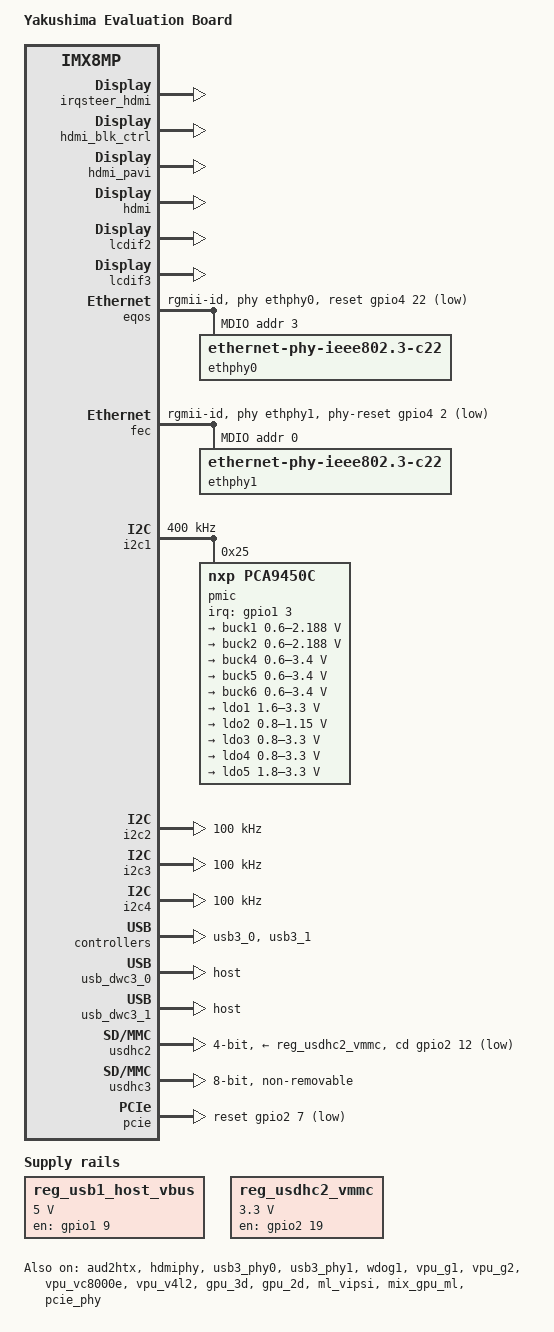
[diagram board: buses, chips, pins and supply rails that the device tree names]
/*
 * Copyright (C) 2021 Atmark Techno, Inc. All Rights Reserved.
 *
 * SPDX-License-Identifier: (GPL-2.0 OR MIT)
 */

/dts-v1/;

#include <dt-bindings/usb/pd.h>
#include <dt-bindings/net/ti-dp83867.h>
#include "imx8mp.dtsi"

#include "armadillo_x2-default-console.dtsi"

/ {
	model = "Yakushima Evaluation Board";
	compatible = "atmark,yakushima-eva", "fsl,imx8mp";

	reg_usb1_host_vbus: regulator-usb1-vbus {
		compatible = "regulator-fixed";
		regulator-name = "usb1_host_vbus";
		pinctrl-names = "default";
		pinctrl-0 = <&pinctrl_usb1_vbus>;
		regulator-min-microvolt = <5000000>;
		regulator-max-microvolt = <5000000>;
		gpio = <&gpio1 9 GPIO_ACTIVE_HIGH>;
		enable-active-high;
		regulator-always-on;
	};

	reg_usdhc2_vmmc: regulator-usdhc2 {
		compatible = "regulator-fixed";
		pinctrl-names = "default";
		pinctrl-0 = <&pinctrl_reg_usdhc2_vmmc>;
		regulator-name = "VSD_3V3";
		regulator-min-microvolt = <3300000>;
		regulator-max-microvolt = <3300000>;
		// ??? voltage-ranges = <1800 1800 3300 3300>;
		gpio = <&gpio2 19 GPIO_ACTIVE_HIGH>;
		enable-active-high;
	};

	sound-hdmi {
		compatible = "fsl,imx-audio-cdnhdmi";
		model = "audio-hdmi";
		audio-cpu = <&aud2htx>;
		hdmi-out;
		constraint-rate = <44100>,
				<88200>,
				<176400>,
				<32000>,
				<48000>,
				<96000>,
				<192000>;
		status = "okay";
	};
};

&aud2htx {
	status = "okay";
};

&irqsteer_hdmi {
	status = "okay";
};

&hdmi_blk_ctrl {
	status = "okay";
};

&hdmi_pavi {
	status = "okay";
};

&hdmi {
	status = "okay";
};

&hdmiphy {
	status = "okay";
};

&lcdif2 {
	status = "okay";
};

&lcdif3 {
	status = "okay";

	thres-low  = <1 2>;             /* (FIFO * 1 / 2) */
	thres-high = <3 4>;             /* (FIFO * 3 / 4) */
};

&eqos {
	pinctrl-names = "default";
	pinctrl-0 = <&pinctrl_eqos>;
	phy-mode = "rgmii-id";
	phy-handle = <&ethphy0>;
	snps,reset-gpio = <&gpio4 22 GPIO_ACTIVE_LOW>;
	snps,reset-active-low;
	snps,reset-delays-us = <0 15000 150000>; // hold reset 15ms and wait 150ms after reset for reinit
	status = "okay";

	mdio {
		compatible = "snps,dwmac-mdio";
		#address-cells = <1>;
		#size-cells = <0>;
		ethphy0: ethernet-phy@0 {
			compatible = "ethernet-phy-ieee802.3-c22";
			reg = <3>;
		};
	};
};

&fec {
	pinctrl-names = "default";
	pinctrl-0 = <&pinctrl_fec>;
	phy-mode = "rgmii-id";
	phy-handle = <&ethphy1>;
	fsl,magic-packet;
	phy-reset-gpios = <&gpio4 2 GPIO_ACTIVE_LOW>;
	phy-reset-duration = <15>;
	phy-reset-post-delay = <150>;
	status = "okay";

	mdio {
		#address-cells = <1>;
		#size-cells = <0>;

		ethphy1: ethernet-phy@1 {
			compatible = "ethernet-phy-ieee802.3-c22";
			reg = <0>;
			ti,rx-internal-delay = <DP83867_RGMIIDCTL_2_00_NS>;
			ti,tx-internal-delay = <DP83867_RGMIIDCTL_2_00_NS>;
			ti,fifo-depth = <DP83867_PHYCR_FIFO_DEPTH_4_B_NIB>;
		};
	};
};

&i2c1 {
	clock-frequency = <400000>;
	pinctrl-names = "default";
	pinctrl-0 = <&pinctrl_i2c1>;
	status = "okay";

	pmic: pca9450@25 {
		reg = <0x25>;
		compatible = "nxp,pca9450c";
		/* PMIC PCA9450 PMIC_nINT GPIO1_IO3 */
		pinctrl-0 = <&pinctrl_pmic>;
		interrupt-parent = <&gpio1>;
		interrupts = <3 GPIO_ACTIVE_LOW>;

		regulators {
			buck1: BUCK1 {
				regulator-name = "BUCK1";
				regulator-min-microvolt = <600000>;
				regulator-max-microvolt = <2187500>;
				regulator-boot-on;
				regulator-always-on;
				regulator-ramp-delay = <3125>;
			};

			buck2: BUCK2 {
				regulator-name = "BUCK2";
				regulator-min-microvolt = <600000>;
				regulator-max-microvolt = <2187500>;
				regulator-boot-on;
				regulator-always-on;
				regulator-ramp-delay = <3125>;
				nxp,dvs-run-voltage = <950000>;
				nxp,dvs-standby-voltage = <850000>;
			};

			buck4: BUCK4 {
				regulator-name = "BUCK4";
				regulator-min-microvolt = <600000>;
				regulator-max-microvolt = <3400000>;
				regulator-boot-on;
				regulator-always-on;
			};

			buck5: BUCK5 {
				regulator-name = "BUCK5";
				regulator-min-microvolt = <600000>;
				regulator-max-microvolt = <3400000>;
				regulator-boot-on;
				regulator-always-on;
			};

			buck6: BUCK6 {
				regulator-name = "BUCK6";
				regulator-min-microvolt = <600000>;
				regulator-max-microvolt = <3400000>;
				regulator-boot-on;
				regulator-always-on;
			};

			ldo1: LDO1 {
				regulator-name = "LDO1";
				regulator-min-microvolt = <1600000>;
				regulator-max-microvolt = <3300000>;
				regulator-boot-on;
				regulator-always-on;
			};

			ldo2: LDO2 {
				regulator-name = "LDO2";
				regulator-min-microvolt = <800000>;
				regulator-max-microvolt = <1150000>;
				regulator-boot-on;
				regulator-always-on;
			};

			ldo3: LDO3 {
				regulator-name = "LDO3";
				regulator-min-microvolt = <800000>;
				regulator-max-microvolt = <3300000>;
				regulator-boot-on;
				regulator-always-on;
			};

			ldo4: LDO4 {
				regulator-name = "LDO4";
				regulator-min-microvolt = <800000>;
				regulator-max-microvolt = <3300000>;
				regulator-boot-on;
				regulator-always-on;
			};

			ldo5: LDO5 {
				regulator-name = "LDO5";
				regulator-min-microvolt = <1800000>;
				regulator-max-microvolt = <3300000>;
				regulator-boot-on;
				regulator-always-on;
			};
		};
	};
};

&i2c2 {
	clock-frequency = <100000>;
	pinctrl-names = "default";
	pinctrl-0 = <&pinctrl_i2c2>;
	status = "okay";
};

&i2c3 {
	clock-frequency = <100000>;
	pinctrl-names = "default";
	pinctrl-0 = <&pinctrl_i2c3>;
	status = "okay";

};

&i2c4 {
	clock-frequency = <100000>;
	pinctrl-names = "default";
	pinctrl-0 = <&pinctrl_i2c4>;
	status = "okay";
};

&sdma2 {
	status = "okay";
};

&usb3_phy0 {
	status = "okay";
};

&usb3_0 {
	status = "okay";
};

&usb_dwc3_0 {
	dr_mode = "host";
	status = "okay";
};

&usb3_phy1 {
	status = "okay";
};

&usb3_1 {
	status = "okay";
};

&usb_dwc3_1 {
	dr_mode = "host";
	status = "okay";
};

&usdhc2 {
	assigned-clocks = <&clk IMX8MP_CLK_USDHC2>;
	assigned-clock-rates = <400000000>;
	pinctrl-names = "default", "state_100mhz", "state_200mhz";
	pinctrl-0 = <&pinctrl_usdhc2>, <&pinctrl_usdhc2_gpio>;
	pinctrl-1 = <&pinctrl_usdhc2_100mhz>, <&pinctrl_usdhc2_gpio>;
	pinctrl-2 = <&pinctrl_usdhc2_200mhz>, <&pinctrl_usdhc2_gpio>;
	cd-gpios = <&gpio2 12 GPIO_ACTIVE_LOW>;
	vmmc-supply = <&reg_usdhc2_vmmc>;
	bus-width = <4>;
	status = "okay";
};

&usdhc3 {
	assigned-clocks = <&clk IMX8MP_CLK_USDHC3>;
	assigned-clock-rates = <400000000>;
	pinctrl-names = "default", "state_100mhz", "state_200mhz";
	pinctrl-0 = <&pinctrl_usdhc3>;
	pinctrl-1 = <&pinctrl_usdhc3_100mhz>;
	pinctrl-2 = <&pinctrl_usdhc3_200mhz>;
	bus-width = <8>;
	non-removable;
	status = "okay";
};

&wdog1 {
	pinctrl-names = "default";
	pinctrl-0 = <&pinctrl_wdog>;
	fsl,ext-reset-output;
	status = "okay";
};

&iomuxc {
	pinctrl-names = "default";
	pinctrl-0 = <&pinctrl_hog>;

	pinctrl_hog: hoggrp {
		fsl,pins = <
			MX8MP_IOMUXC_HDMI_DDC_SCL__HDMIMIX_HDMI_SCL	0x40000034
			MX8MP_IOMUXC_HDMI_DDC_SDA__HDMIMIX_HDMI_SDA	0x40000034
			MX8MP_IOMUXC_HDMI_HPD__HDMIMIX_HDMI_HPD		0x40000034
			MX8MP_IOMUXC_HDMI_CEC__HDMIMIX_HDMI_CEC		0x40000034
		>;
	};

	/* Memo for pinctrl config:
	 * 0x2/6 = stronger driving field
	 *  0x10 = fast slew rate
	 *  0x40 = pull up
	 * 0x100 = pull enable
	 */
	pinctrl_eqos: eqosgrp {
		fsl,pins = <
			MX8MP_IOMUXC_ENET_MDC__ENET_QOS_MDC		0x6
			MX8MP_IOMUXC_ENET_MDIO__ENET_QOS_MDIO		0x6
			MX8MP_IOMUXC_ENET_RD0__ENET_QOS_RGMII_RD0	0x6
			MX8MP_IOMUXC_ENET_RD1__ENET_QOS_RGMII_RD1	0x6
			MX8MP_IOMUXC_ENET_RD2__ENET_QOS_RGMII_RD2	0x6
			MX8MP_IOMUXC_ENET_RD3__ENET_QOS_RGMII_RD3	0x6
			MX8MP_IOMUXC_ENET_RXC__CCM_ENET_QOS_CLOCK_GENERATE_RX_CLK	0x106
			MX8MP_IOMUXC_ENET_RX_CTL__ENET_QOS_RGMII_RX_CTL	0x106
			MX8MP_IOMUXC_ENET_TD0__ENET_QOS_RGMII_TD0	0x142
			MX8MP_IOMUXC_ENET_TD1__ENET_QOS_RGMII_TD1	0x142
			MX8MP_IOMUXC_ENET_TD2__ENET_QOS_RGMII_TD2	0x142
			MX8MP_IOMUXC_ENET_TD3__ENET_QOS_RGMII_TD3	0x142
			MX8MP_IOMUXC_ENET_TX_CTL__ENET_QOS_RGMII_TX_CTL	0x142
			MX8MP_IOMUXC_ENET_TXC__CCM_ENET_QOS_CLOCK_GENERATE_TX_CLK	0x142
			MX8MP_IOMUXC_SAI2_RXC__GPIO4_IO22		0x152 // RST
		>;
	};

	pinctrl_fec: fecgrp {
		fsl,pins = <
			MX8MP_IOMUXC_SAI1_RXD2__ENET1_MDC		0x6
			MX8MP_IOMUXC_SAI1_RXD3__ENET1_MDIO		0x6
			MX8MP_IOMUXC_SAI1_RXD4__ENET1_RGMII_RD0		0x106
			MX8MP_IOMUXC_SAI1_RXD5__ENET1_RGMII_RD1		0x106
			MX8MP_IOMUXC_SAI1_RXD6__ENET1_RGMII_RD2		0x106
			MX8MP_IOMUXC_SAI1_RXD7__ENET1_RGMII_RD3		0x106
			MX8MP_IOMUXC_SAI1_TXC__ENET1_RGMII_RXC		0x106
			MX8MP_IOMUXC_SAI1_TXFS__ENET1_RGMII_RX_CTL	0x106
			MX8MP_IOMUXC_SAI1_TXD0__ENET1_RGMII_TD0		0x142
			MX8MP_IOMUXC_SAI1_TXD1__ENET1_RGMII_TD1		0x142
			MX8MP_IOMUXC_SAI1_TXD2__ENET1_RGMII_TD2		0x142
			MX8MP_IOMUXC_SAI1_TXD3__ENET1_RGMII_TD3		0x142
			MX8MP_IOMUXC_SAI1_TXD4__ENET1_RGMII_TX_CTL	0x142
			MX8MP_IOMUXC_SAI1_TXD5__ENET1_RGMII_TXC		0x142
			MX8MP_IOMUXC_SAI1_RXD0__GPIO4_IO02		0x152 // RST
		>;
	};

	pinctrl_i2c1: i2c1grp {
		fsl,pins = <
			MX8MP_IOMUXC_I2C1_SCL__I2C1_SCL		0x400001c3
			MX8MP_IOMUXC_I2C1_SDA__I2C1_SDA		0x400001c3
		>;
	};

	pinctrl_i2c2: i2c2grp {
		fsl,pins = <
			MX8MP_IOMUXC_I2C2_SCL__I2C2_SCL			0x400001c3
			MX8MP_IOMUXC_I2C2_SDA__I2C2_SDA			0x400001c3
		>;
	};

	pinctrl_i2c3: i2c3grp {
		fsl,pins = <
			MX8MP_IOMUXC_I2C3_SCL__I2C3_SCL			0x400001c3
			MX8MP_IOMUXC_I2C3_SDA__I2C3_SDA			0x400001c3
		>;
	};

	pinctrl_i2c4: i2c4grp {
		fsl,pins = <
			MX8MP_IOMUXC_I2C4_SCL__I2C4_SCL			0x400001c3
			MX8MP_IOMUXC_I2C4_SDA__I2C4_SDA			0x400001c3
		>;
	};

	pinctrl_pcie: pciegrp {
		fsl,pins = <
			 /* MX8MP_IOMUXC_I2C4_SCL__PCIE_CLKREQ_B		0x61 */ /* open drain, pull up */
			MX8MP_IOMUXC_SD1_DATA4__GPIO2_IO06		0x41
			MX8MP_IOMUXC_SD1_DATA5__GPIO2_IO07		0x41
			MX8MP_IOMUXC_SD1_STROBE__GPIO2_IO11		0x41
		>;
	};

	pinctrl_pmic: pmicirq {
		fsl,pins = <
			MX8MP_IOMUXC_GPIO1_IO03__GPIO1_IO03	0x41
		>;
	};

	pinctrl_usb1_vbus: usb1grp {
		fsl,pins = <
			MX8MP_IOMUXC_GPIO1_IO09__GPIO1_IO09	0x40000000
		>;
	};

	pinctrl_reg_usdhc2_vmmc: regusdhc2vmmcgrp {
		fsl,pins = <
			MX8MP_IOMUXC_SD2_RESET_B__GPIO2_IO19    0x41
		>;
	};

	pinctrl_usdhc2_gpio: usdhc2grp-gpio {
		fsl,pins = <
			MX8MP_IOMUXC_SD2_CD_B__GPIO2_IO12 	0x1c4
		>;
	};

	pinctrl_usdhc2: usdhc2grp {
		fsl,pins = <
			MX8MP_IOMUXC_SD2_CLK__USDHC2_CLK	0x190
			MX8MP_IOMUXC_SD2_CMD__USDHC2_CMD	0x1d0
			MX8MP_IOMUXC_SD2_DATA0__USDHC2_DATA0	0x1d0
			MX8MP_IOMUXC_SD2_DATA1__USDHC2_DATA1	0x1d0
			MX8MP_IOMUXC_SD2_DATA2__USDHC2_DATA2	0x1d0
			MX8MP_IOMUXC_SD2_DATA3__USDHC2_DATA3	0x1d0
			MX8MP_IOMUXC_GPIO1_IO04__USDHC2_VSELECT	0xc1
		>;
	};

	pinctrl_usdhc2_100mhz: usdhc2grp-100mhz {
		fsl,pins = <
			MX8MP_IOMUXC_SD2_CLK__USDHC2_CLK	0x194
			MX8MP_IOMUXC_SD2_CMD__USDHC2_CMD	0x1d4
			MX8MP_IOMUXC_SD2_DATA0__USDHC2_DATA0	0x1d4
			MX8MP_IOMUXC_SD2_DATA1__USDHC2_DATA1	0x1d4
			MX8MP_IOMUXC_SD2_DATA2__USDHC2_DATA2	0x1d4
			MX8MP_IOMUXC_SD2_DATA3__USDHC2_DATA3	0x1d4
			MX8MP_IOMUXC_GPIO1_IO04__USDHC2_VSELECT 0xc1
		>;
	};

	pinctrl_usdhc2_200mhz: usdhc2grp-200mhz {
		fsl,pins = <
			MX8MP_IOMUXC_SD2_CLK__USDHC2_CLK	0x196
			MX8MP_IOMUXC_SD2_CMD__USDHC2_CMD	0x1d6
			MX8MP_IOMUXC_SD2_DATA0__USDHC2_DATA0	0x1d6
			MX8MP_IOMUXC_SD2_DATA1__USDHC2_DATA1	0x1d6
			MX8MP_IOMUXC_SD2_DATA2__USDHC2_DATA2	0x1d6
			MX8MP_IOMUXC_SD2_DATA3__USDHC2_DATA3	0x1d6
			MX8MP_IOMUXC_GPIO1_IO04__USDHC2_VSELECT 0xc1
		>;
	};

	pinctrl_usdhc3: usdhc3grp {
		fsl,pins = <
			MX8MP_IOMUXC_NAND_WE_B__USDHC3_CLK		0x190
			MX8MP_IOMUXC_NAND_WP_B__USDHC3_CMD		0x1d0
			MX8MP_IOMUXC_NAND_DATA04__USDHC3_DATA0		0x1d0
			MX8MP_IOMUXC_NAND_DATA05__USDHC3_DATA1		0x1d0
			MX8MP_IOMUXC_NAND_DATA06__USDHC3_DATA2		0x1d0
			MX8MP_IOMUXC_NAND_DATA07__USDHC3_DATA3		0x1d0
			MX8MP_IOMUXC_NAND_RE_B__USDHC3_DATA4		0x1d0
			MX8MP_IOMUXC_NAND_CE2_B__USDHC3_DATA5		0x1d0
			MX8MP_IOMUXC_NAND_CE3_B__USDHC3_DATA6		0x1d0
			MX8MP_IOMUXC_NAND_CLE__USDHC3_DATA7		0x1d0
			MX8MP_IOMUXC_NAND_CE1_B__USDHC3_STROBE		0x190
			MX8MP_IOMUXC_NAND_READY_B__USDHC3_RESET_B	0x190
		>;
	};

	pinctrl_usdhc3_100mhz: usdhc3grp-100mhz {
		fsl,pins = <
			MX8MP_IOMUXC_NAND_WE_B__USDHC3_CLK		0x194
			MX8MP_IOMUXC_NAND_WP_B__USDHC3_CMD		0x1d4
			MX8MP_IOMUXC_NAND_DATA04__USDHC3_DATA0		0x1d4
			MX8MP_IOMUXC_NAND_DATA05__USDHC3_DATA1		0x1d4
			MX8MP_IOMUXC_NAND_DATA06__USDHC3_DATA2		0x1d4
			MX8MP_IOMUXC_NAND_DATA07__USDHC3_DATA3		0x1d4
			MX8MP_IOMUXC_NAND_RE_B__USDHC3_DATA4		0x1d4
			MX8MP_IOMUXC_NAND_CE2_B__USDHC3_DATA5		0x1d4
			MX8MP_IOMUXC_NAND_CE3_B__USDHC3_DATA6		0x1d4
			MX8MP_IOMUXC_NAND_CLE__USDHC3_DATA7		0x1d4
			MX8MP_IOMUXC_NAND_CE1_B__USDHC3_STROBE		0x194
			MX8MP_IOMUXC_NAND_READY_B__USDHC3_RESET_B	0x194
		>;
	};

	pinctrl_usdhc3_200mhz: usdhc3grp-200mhz {
		fsl,pins = <
			MX8MP_IOMUXC_NAND_WE_B__USDHC3_CLK		0x196
			MX8MP_IOMUXC_NAND_WP_B__USDHC3_CMD		0x1d6
			MX8MP_IOMUXC_NAND_DATA04__USDHC3_DATA0		0x1d6
			MX8MP_IOMUXC_NAND_DATA05__USDHC3_DATA1		0x1d6
			MX8MP_IOMUXC_NAND_DATA06__USDHC3_DATA2		0x1d6
			MX8MP_IOMUXC_NAND_DATA07__USDHC3_DATA3		0x1d6
			MX8MP_IOMUXC_NAND_RE_B__USDHC3_DATA4		0x1d6
			MX8MP_IOMUXC_NAND_CE2_B__USDHC3_DATA5		0x1d6
			MX8MP_IOMUXC_NAND_CE3_B__USDHC3_DATA6		0x1d6
			MX8MP_IOMUXC_NAND_CLE__USDHC3_DATA7		0x1d6
			MX8MP_IOMUXC_NAND_CE1_B__USDHC3_STROBE		0x196
			MX8MP_IOMUXC_NAND_READY_B__USDHC3_RESET_B	0x196

		>;
	};

	pinctrl_wdog: wdoggrp {
		fsl,pins = <
			MX8MP_IOMUXC_GPIO1_IO02__WDOG1_WDOG_B	0xc6
		>;
	};
};

&vpu_g1 {
	status = "okay";
};

&vpu_g2 {
	status = "okay";
};

&vpu_vc8000e {
	status = "okay";
};

&vpu_v4l2 {
	status = "okay";
};

&gpu_3d {
	status = "okay";
};

&gpu_2d {
	status = "okay";
};

&ml_vipsi {
	status = "okay";
};

&mix_gpu_ml {
	status = "okay";
};

&pcie{
	pinctrl-names = "default";
	pinctrl-0 = <&pinctrl_pcie>;
	disable-gpio = <&gpio2 6 GPIO_ACTIVE_LOW>;
	disable2-gpio = <&gpio2 11 GPIO_ACTIVE_LOW>;
	reset-gpio = <&gpio2 7 GPIO_ACTIVE_LOW>;
	reset-gpio-active-high = <1>;
	disable-gpio-active-high = <1>;
	ext_osc = <0>;
	clocks = <&clk IMX8MP_CLK_HSIO_ROOT>,
		 <&clk IMX8MP_CLK_PCIE_AUX>,
		 <&clk IMX8MP_CLK_HSIO_AXI>,
		 <&clk IMX8MP_CLK_PCIE_ROOT>;
	clock-names = "pcie", "pcie_aux", "pcie_phy", "pcie_bus";
	assigned-clocks = <&clk IMX8MP_CLK_HSIO_AXI>,
			  <&clk IMX8MP_CLK_PCIE_AUX>;
	assigned-clock-rates = <500000000>, <10000000>;
	assigned-clock-parents = <&clk IMX8MP_SYS_PLL2_500M>,
				 <&clk IMX8MP_SYS_PLL2_50M>;
	status = "okay";
};

&pcie_ep{
	pinctrl-names = "default";
	pinctrl-0 = <&pinctrl_pcie>;
	ext_osc = <0>;
	clocks = <&clk IMX8MP_CLK_HSIO_ROOT>,
		 <&clk IMX8MP_CLK_PCIE_AUX>,
		 <&clk IMX8MP_CLK_HSIO_AXI>,
		 <&clk IMX8MP_CLK_PCIE_ROOT>;
	clock-names = "pcie", "pcie_aux", "pcie_phy", "pcie_bus";
	assigned-clocks = <&clk IMX8MP_CLK_HSIO_AXI>,
			  <&clk IMX8MP_CLK_PCIE_AUX>;
	assigned-clock-rates = <500000000>, <10000000>;
	assigned-clock-parents = <&clk IMX8MP_SYS_PLL2_500M>,
				 <&clk IMX8MP_SYS_PLL2_50M>;
	status = "disabled";
};

&pcie_phy{
	ext_osc = <0>;
	status = "okay";
};

&A53_0 {
        cpu-supply = <&buck2>;
};

&A53_1 {
        cpu-supply = <&buck2>;
};

&A53_2 {
        cpu-supply = <&buck2>;
};

&A53_3 {
        cpu-supply = <&buck2>;
};
